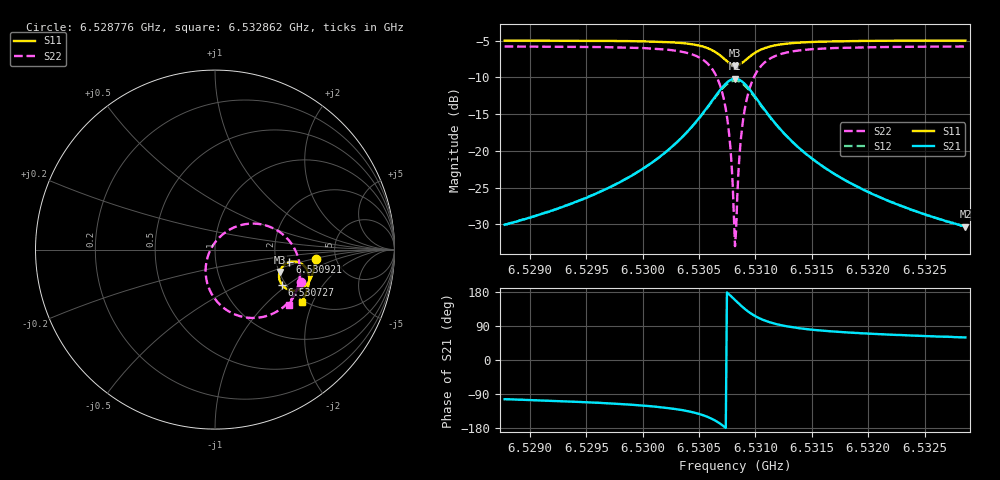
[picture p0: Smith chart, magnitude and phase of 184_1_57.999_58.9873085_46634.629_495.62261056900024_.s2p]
#  HZ  S  RI  R  50.00
! Rohde & Schwarz Vector Network Analyzer
! Rohde-Schwarz,ZNB20-2Port,1311601062101988,3.16
! Created: UTC 3/21/2024, 12:58:27 AM
! freq[Hz]  re:S11  im:S11  re:S21  im:S21  re:S12  im:S12  re:S22  im:S22
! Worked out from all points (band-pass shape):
!   401 points, 6.528776 GHz to 6.532862 GHz, reference 50 ohm
!   highest |S21| = -10.18 dB at 6.530819 GHz (marker M1); lowest = -30.3 dB at 6.532862 GHz (marker M2)
!   |S21| within 3 dB of the highest: 6.530616 GHz to 6.531024 GHz (408.3 kHz wide, 0.00625 % of centre)
!   lowest |S11| = -8.4 dB at 6.530819 GHz (marker M3), VSWR 2.23, Z = 100 - j29.4 ohm
!   |S11| at or under -10 dB: nowhere
!   |S22| runs from -33.0 to -5.8 dB; largest |S21 - S12| = 0.012
!   S11 on the Smith chart (normalised r, x): 6.528776 GHz: 3.49, -0.51; 6.530727 GHz: 1.91, -0.91; 6.530921 GHz: 2.37, -0.40; 6.532862 GHz: 1.93, -1.66
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6.5287758e9  0.5604 -0.0503  -0.00734 -0.0306  -0.00791 -0.0305  0.4816 -0.1793
6.5294603e9  0.5512 -0.1077  -0.0166 -0.0434  -0.0177 -0.0433  0.4497 -0.2424
6.5301447e9  0.5242 -0.1767  -0.0505 -0.0746  -0.0527 -0.0733  0.3666 -0.3313
6.5303796e9  0.4975 -0.2073  -0.0905 -0.0943  -0.0936 -0.0912  0.2849 -0.3704
6.5305533e9  0.4539 -0.2275  -0.1593 -0.1012  -0.1617 -0.0946  0.1577 -0.3755
6.5306554e9  0.4085 -0.2227  -0.2296 -0.0748  -0.2289 -0.065  0.0399 -0.3178
6.5307269e9  0.3729 -0.1955  -0.2814 -0.0159  -0.2756 -0.0055  -0.0363 -0.2086
6.5307678e9  0.3593 -0.1674  -0.2979 0.0375  -0.2886 0.0459  -0.0525 -0.117
6.530778e9  0.3575 -0.1594  -0.2986 0.0526  -0.2891 0.0601  -0.0512 -0.0921
6.5308087e9  0.3577 -0.1338  -0.293 0.0987  -0.2819 0.1035  -0.0326 -0.0177
6.5308189e9  0.3596 -0.1251  -0.2882 0.1138  -0.2768 0.1175  -0.0217 0.00588
6.5308291e9  0.3624 -0.117  -0.2817 0.1281  -0.2704 0.1309  -0.00824 0.0281
6.5308393e9  0.3659 -0.1091  -0.2739 0.1419  -0.2627 0.1436  0.00722 0.049
6.5308597e9  0.3755 -0.0948  -0.2548 0.166  -0.2441 0.1662  0.0432 0.0849
6.5308802e9  0.3875 -0.0834  -0.2322 0.1857  -0.2225 0.1843  0.0839 0.1126
6.530921e9  0.4146 -0.0695  -0.1827 0.2093  -0.1757 0.2061  0.1696 0.1419
6.5309925e9  0.4579 -0.0688  -0.1066 0.2115  -0.1028 0.2082  0.2975 0.1303
6.5310947e9  0.4963 -0.0905  -0.0412 0.1802  -0.0393 0.1785  0.4029 0.0612
6.5312479e9  0.5188 -0.1263  -0.00145 0.1333  -0.000178 0.1326  0.4604 -0.0351
6.5315033e9  0.5247 -0.17  0.0154 0.0871  0.0166 0.0867  0.4739 -0.1332
6.5321877e9  0.5075 -0.2415  0.0178 0.0417  0.0185 0.0415  0.4447 -0.2496
6.5328619e9  0.4826 -0.2928  0.0155 0.0263  0.0161 0.0259  0.4098 -0.3094
